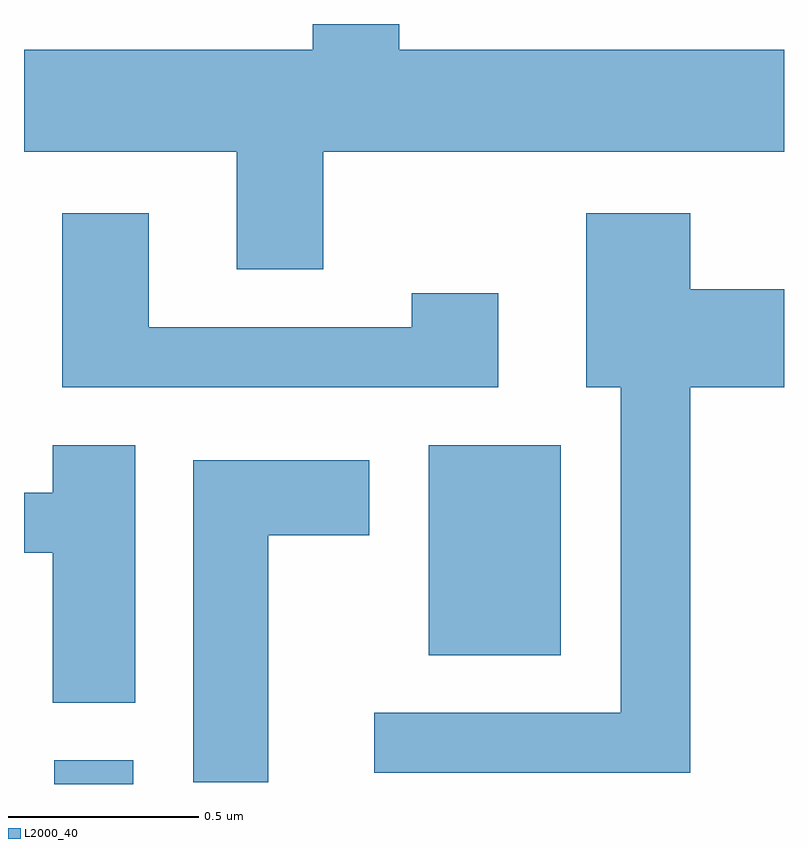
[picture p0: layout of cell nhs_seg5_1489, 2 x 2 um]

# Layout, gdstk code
import gdstk
lib = gdstk.Library(unit=1e-6, precision=1e-09)
def R(c, l, rs):  # rectangles x0, y0, x1, y1
    for r in rs: c.add(gdstk.rectangle(r[:2], r[2:], *l))
def P(c, l, *ps):  # polygons
    for p in ps: c.add(gdstk.Polygon(p, *l))
L2000_40 = (2000, 40)

nhs_seg5_1489 = lib.new_cell('nhs_seg5_1489')
R(nhs_seg5_1489, L2000_40, [(195.691,1515.072,195.899,1515.134), (196.676,1515.411,197.024,1515.964)])
P(nhs_seg5_1489, L2000_40, [(196.399,1516.736),(197.611,1516.736),(197.611,1517.004),(196.599,1517.004),(196.599,1517.072),(196.371,1517.072),(196.371,1517.004),(195.611,1517.004),(195.611,1516.736),(196.171,1516.736),(196.171,1516.426),(196.399,1516.426)],
  [(196.859,1516.364),(196.631,1516.364),(196.631,1516.274),(195.939,1516.274),(195.939,1516.574),(195.711,1516.574),(195.711,1516.116),(196.859,1516.116)],
  [(197.364,1516.116),(197.611,1516.116),(197.611,1516.374),(197.364,1516.374),(197.364,1516.574),(197.091,1516.574),(197.091,1516.116),(197.181,1516.116),(197.181,1515.259),(196.533,1515.259),(196.533,1515.101),(197.364,1515.101)],
  [(195.904,1515.964),(195.686,1515.964),(195.686,1515.839),(195.611,1515.839),(195.611,1515.681),(195.686,1515.681),(195.686,1515.286),(195.904,1515.286)],
  [(196.254,1515.726),(196.519,1515.726),(196.519,1515.924),(196.056,1515.924),(196.056,1515.076),(196.254,1515.076)])

lib.write_gds('nhs_seg5_1489.gds')
